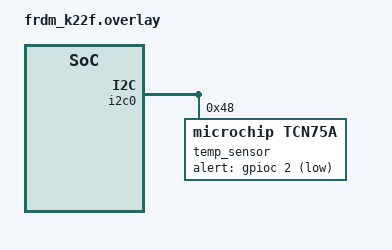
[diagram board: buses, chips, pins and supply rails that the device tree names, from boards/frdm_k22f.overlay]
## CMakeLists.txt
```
# Copyright 2022 Daniel DeGrasse <daniel@degrasse.com>
# SPDX-License-Identifier: Apache-2.0

cmake_minimum_required(VERSION 3.20.0)
find_package(Zephyr REQUIRED HINTS $ENV{ZEPHYR_BASE})
project(tcn75a)

FILE(GLOB app_sources src/*.c)
target_sources(app PRIVATE ${app_sources})
```

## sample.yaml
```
sample:
  name: TCN75A Ambient temperature sensor
tests:
  sample.sensor.tcn75a:
    tags: sensors
    harness: console
    depends_on: i2c
    harness_config:
      type: multi_line
      ordered: true
      regex:
        - "Current temperature is ([0-9\\.]+)"
      fixture: fixture_i2c_tcn75a
    filter: dt_compat_enabled("microchip,tcn75a")
```

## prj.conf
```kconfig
CONFIG_CBPRINTF_FP_SUPPORT=y
CONFIG_I2C=y
CONFIG_SENSOR=y
CONFIG_TCN75A=y
# Enable trigger support and higher resolution sampling
CONFIG_TCN75A_TRIGGER_GLOBAL_THREAD=y
CONFIG_TCN75A_RESOLUTION_10BIT=y
```

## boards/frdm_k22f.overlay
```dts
/*
 * Copyright 2023 Daniel DeGrasse <daniel@degrasse.com>
 *
 * SPDX-License-Identifier: Apache-2.0
 */

&i2c0 {
	temp_sensor: tcn75a@48 {
		reg = <0x48>;
		compatible = "microchip,tcn75a";
		alert-gpios = <&gpioc 2 (GPIO_ACTIVE_LOW | GPIO_PULL_UP)>;
	};
};
```

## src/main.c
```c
/*
 * Copyright 2022 Daniel DeGrasse <daniel@degrasse.com>
 *
 * SPDX-License-Identifier: Apache-2.0
 */

#include <stdio.h>

#include <zephyr/device.h>
#include <zephyr/drivers/gpio.h>
#include <zephyr/drivers/sensor.h>
#include <zephyr/kernel.h>

double low_temp;
double high_temp;

/**
 * @file Sample app using the TCN75A serial temperature sensor
 *
 * This app will utilize the alert functionality on the TCN75A to set
 * high and low thresholds. The user will be alerted when the temperature
 * readout exceeds either threshold.
 */

int read_temperature(const struct device *dev, double *temp)
{
	int ret;
	struct sensor_value val;

	if (temp == NULL) {
		return -EINVAL;
	}

	ret = sensor_sample_fetch_chan(dev, SENSOR_CHAN_AMBIENT_TEMP);
	if (ret < 0) {
		printf("Could not fetch temperature (%d)\n", ret);
		return ret;
	}

	ret = sensor_channel_get(dev, SENSOR_CHAN_AMBIENT_TEMP, &val);
	if (ret < 0) {
		printf("Could not get temperature (%d)\n", ret);
		return ret;
	}

	*temp = sensor_value_to_double(&val);
	return ret;
}

void temp_alert_handler(const struct device *dev, const struct sensor_trigger *trig)
{
	int ret;
	double temp;

	/* Read sensor value */
	ret = read_temperature(dev, &temp);
	if (ret < 0) {
		printf("Reading temperature failed (%d)\n", ret);
		return;
	}
	if (temp <= low_temp) {
		printf("Temperature below threshold: %.2f\n", temp);
	} else if (temp >= high_temp) {
		printf("Temperature above threshold: %.2f\n", temp);
	} else {
		printf("Error: temperature alert triggered without valid condition\n");
	}
}

void main(void)
{
	const struct device *const dev = DEVICE_DT_GET_ONE(microchip_tcn75a);
	double current_temp;
	struct sensor_value low_val;
	struct sensor_value high_val;
	const struct sensor_trigger trig = {
		.chan = SENSOR_CHAN_AMBIENT_TEMP,
		.type = SENSOR_TRIG_THRESHOLD,
	};
	int ret;

	if (!device_is_ready(dev)) {
		printk("sensor: device not ready.\n");
		return;
	}

	/* The TCN75A tends to read 0x0 from the temp register shortly after.
	 * power up. Briefly delay to avoid this.
	 */
	k_msleep(500);

	ret = read_temperature(dev, &current_temp);
	if (ret < 0) {
		printf("Reading temperature failed (%d)\n", ret);
		return;
	}
	printf("Current temperature is %.2f\n", current_temp);

	/* Set low and high thresholds to +0.5 and +1.5 degree C from ambient */
	low_temp = current_temp + 0.5;
	high_temp = current_temp + 1.5;
	ret = sensor_value_from_double(&low_val, low_temp);
	if (ret < 0) {
		printf("Could not covert low temp limit to sensor value (%d)\n", ret);
	}
	ret = sensor_value_from_double(&high_val, high_temp);
	if (ret < 0) {
		printf("Could not covert high temp limit to sensor value (%d)\n", ret);
	}
	ret = sensor_attr_set(dev, SENSOR_CHAN_AMBIENT_TEMP, SENSOR_ATTR_UPPER_THRESH, &high_val);
	if (ret < 0) {
		printf("Could not set temperature upper limit (%d)\n", ret);
	}
	printf("Set temperature upper limit to: %.2f C\n", high_temp);
	ret = sensor_attr_set(dev, SENSOR_CHAN_AMBIENT_TEMP, SENSOR_ATTR_LOWER_THRESH, &low_val);
	if (ret < 0) {
		printf("Could not set temperature lower limit (%d)\n", ret);
	}
	printf("Set temperature lower limit to: %.2f C\n", low_temp);

	ret = sensor_trigger_set(dev, &trig, temp_alert_handler);
	if (ret < 0) {
		printf("Could not add temperature trigger (%d)\n", ret);
	}
}
```
